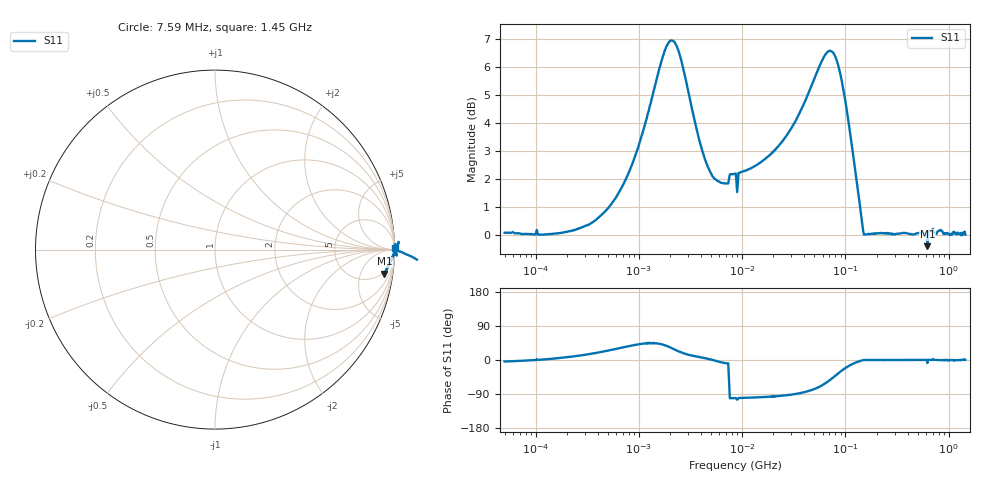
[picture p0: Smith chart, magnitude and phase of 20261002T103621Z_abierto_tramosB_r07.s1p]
! piloto_saltos / abierto_tramosB / r07
# HZ S RI R 50
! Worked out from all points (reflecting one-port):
!   501 points, 50 kHz to 1.45 GHz, reference 50 ohm
!   lowest |S11| = -0.4 dB at 622 MHz (marker M1), VSWR 42.40, Z = 212 - j634 ohm
!   phase of S11 starts at -4 deg and turns +4 deg over the sweep
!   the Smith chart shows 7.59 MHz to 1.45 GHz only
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50000  1.005 -0.0692
182500  1.003 0.1049
381000  1.007 0.3364
678000  1.024 0.651
1164000  1.146 1.105
1623000  1.496 1.351
1947000  1.811 1.262
2379000  1.964 0.8585
2784000  1.844 0.5451
3000000  1.751 0.4347
4620000  1.322 0.078
6780000  1.222 -0.1727
8130000  -0.2374 -1.26
8670000  -0.2327 -1.265
2.136e7  -0.1397 -1.419
3.27e7  0.00577 -1.593
4.08e7  0.1721 -1.724
4.89e7  0.4047 -1.834
6.51e7  1.055 -1.823
7.32e7  1.372 -1.623
8.67e7  1.651 -1.09
9.75e7  1.634 -0.6947
1.137e8  1.436 -0.3104
1.326e8  1.188 -0.0885
1.542e8  1.001 0.000519
4.035e8  1.004 -1e-05
6.22e8  0.9444 -0.1348
1.45e9  1.001 0.00925
